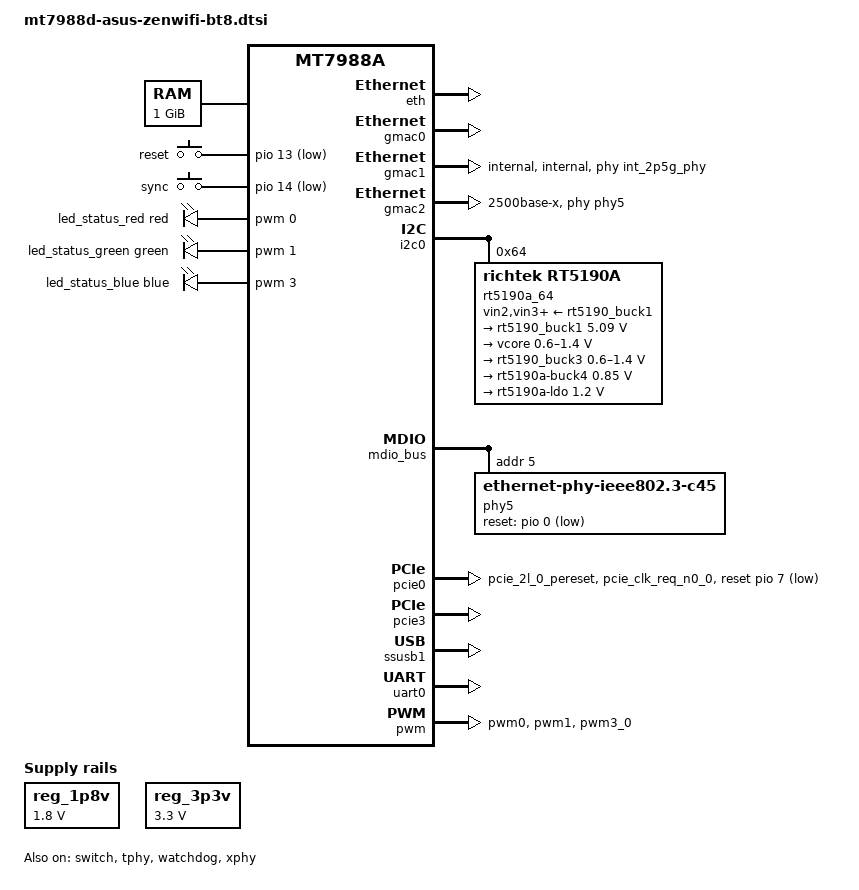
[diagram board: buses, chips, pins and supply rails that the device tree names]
// SPDX-License-Identifier: (GPL-2.0 OR MIT)

/dts-v1/;

#include "mt7988a.dtsi"
#include <dt-bindings/gpio/gpio.h>
#include <dt-bindings/input/input.h>
#include <dt-bindings/leds/common.h>
#include <dt-bindings/pinctrl/mt65xx.h>
#include <dt-bindings/regulator/richtek,rt5190a-regulator.h>

#define ASUS_BT8_NVMEM_LAYOUT				\
	nvmem-layout {					\
		compatible = "fixed-layout";		\
		#address-cells = <1>;			\
		#size-cells = <1>;			\
							\
		eeprom_factory_0: eeprom@0 {		\
			reg = <0x0 0x1e00>;		\
		};					\
							\
		macaddr_factory_4: macaddr@4 {		\
			reg = <0x4 0x6>;		\
		};					\
							\
		macaddr_factory_a: macaddr@a {		\
			reg = <0xa 0x6>;		\
		};					\
							\
		macaddr_factory_fffee: macaddr@fffee {	\
			reg = <0xfffee 0x6>;		\
		};					\
							\
		macaddr_factory_ffff4: macaddr@ffff4 {	\
			reg = <0xffff4 0x6>;		\
		};					\
							\
		macaddr_factory_ffffa: macaddr@ffffa {	\
			reg = <0xffffa 0x6>;		\
		};					\
							\
		pin@101180 {				\
			reg = <0x101180 0x8>;		\
		};					\
							\
		hwid@110e00 {				\
			reg = <0x110e00 0x1>;		\
		};					\
							\
		hwrev@110e04 {				\
			reg = <0x110e04 0x4>;		\
		};					\
							\
		board@110e0c {				\
			reg = <0x110e0c 0x20>;		\
		};					\
							\
		mfgdate@110e3e {			\
			reg = <0x110e3e 0x8>;		\
		};					\
							\
		market@110f90 {				\
			reg = <0x110f90 0x5>;		\
		};					\
							\
		model@110fb0 {				\
			reg = <0x110fb0 0x10>;		\
		};					\
							\
		serial@110ff0 {				\
			reg = <0x110ff0 0x10>;		\
		};					\
							\
		eeprom-version@15480f {			\
			reg = <0x15480f 0x1>;		\
		};					\
	}

/ {
	aliases {
		serial0 = &uart0;
		label-mac-device = &gmac0;
		led-boot = &led_status_green;
		led-failsafe = &led_status_red;
		led-running = &led_status_green;
		led-upgrade = &led_status_blue;
	};

	memory {
		reg = <0x0 0x40000000 0x0 0x40000000>;
	};

	cpus {
		/delete-node/ cpu@3;
	};

	reg_1p8v: regulator-1p8v {
		compatible = "regulator-fixed";
		regulator-name = "fixed-1.8V";
		regulator-min-microvolt = <1800000>;
		regulator-max-microvolt = <1800000>;
		regulator-boot-on;
		regulator-always-on;
	};

	reg_3p3v: regulator-3p3v {
		compatible = "regulator-fixed";
		regulator-name = "fixed-3.3V";
		regulator-min-microvolt = <3300000>;
		regulator-max-microvolt = <3300000>;
		regulator-boot-on;
		regulator-always-on;
	};

	gpio-keys {
		compatible = "gpio-keys";
		pinctrl-names = "default";
		pinctrl-0 = <&button_pins>;

		factory {
			label = "reset";
			linux,code = <KEY_RESTART>;
			gpios = <&pio 13 GPIO_ACTIVE_LOW>;
		};

		wps {
			label = "sync";
			linux,code = <KEY_WPS_BUTTON>;
			gpios = <&pio 14 GPIO_ACTIVE_LOW>;
		};
	};

	pwm-leds {
		compatible = "pwm-leds";

		led_status_red: led-0 {
			color = <LED_COLOR_ID_RED>;
			function = LED_FUNCTION_STATUS;
			pwms = <&pwm 0 10000>;
		};

		led_status_green: led-1 {
			color = <LED_COLOR_ID_GREEN>;
			function = LED_FUNCTION_STATUS;
			pwms = <&pwm 1 10000>;
		};

		led_status_blue: led-2 {
			color = <LED_COLOR_ID_BLUE>;
			function = LED_FUNCTION_STATUS;
			pwms = <&pwm 3 10000>;
		};
	};
};

&cpu0 {
	proc-supply = <&rt5190_buck3>;
};

&cpu1 {
	proc-supply = <&rt5190_buck3>;
};

&cpu2 {
	proc-supply = <&rt5190_buck3>;
};

&cci {
	proc-supply = <&rt5190_buck3>;
};

&eth {
	pinctrl-names = "default";
	pinctrl-0 = <&mdio0_pins>;
	status = "okay";
};

&gmac0 {
	status = "okay";
};

&gmac1 {
	phy-mode = "internal";
	phy-connection-type = "internal";
	phy = <&int_2p5g_phy>;

	openwrt,netdev-name = "wan";

	status = "okay";
};

&int_2p5g_phy {
	pinctrl-names = "i2p5gbe-led";
	pinctrl-0 = <&i2p5gbe_led0_pins>;
};

&gmac2 {
	phy-mode = "2500base-x";
	phy = <&phy5>;

	openwrt,netdev-name = "lan3";

	status = "okay";
};

&gsw_phy0 {
	status = "disabled";
};

&i2c0 {
	pinctrl-names = "default";
	pinctrl-0 = <&i2c0_pins>;
	status = "okay";

	rt5190a_64: rt5190a@64 {
		compatible = "richtek,rt5190a";
		reg = <0x64>;
		/*interrupts-extended = <&gpio26 0 IRQ_TYPE_LEVEL_LOW>;*/
		vin2-supply = <&rt5190_buck1>;
		vin3-supply = <&rt5190_buck1>;
		vin4-supply = <&rt5190_buck1>;

		regulators {
			rt5190_buck1: buck1 {
				regulator-name = "rt5190a-buck1";
				regulator-min-microvolt = <5090000>;
				regulator-max-microvolt = <5090000>;
				regulator-allowed-modes =
				<RT5190A_OPMODE_AUTO RT5190A_OPMODE_FPWM>;
				regulator-boot-on;
				regulator-always-on;
			};

			buck2 {
				regulator-name = "vcore";
				regulator-min-microvolt = <600000>;
				regulator-max-microvolt = <1400000>;
				regulator-boot-on;
				regulator-always-on;
			};

			rt5190_buck3: buck3 {
				regulator-name = "vproc";
				regulator-min-microvolt = <600000>;
				regulator-max-microvolt = <1400000>;
				regulator-boot-on;
			};

			buck4 {
				regulator-name = "rt5190a-buck4";
				regulator-min-microvolt = <850000>;
				regulator-max-microvolt = <850000>;
				regulator-allowed-modes =
				<RT5190A_OPMODE_AUTO RT5190A_OPMODE_FPWM>;
				regulator-boot-on;
				regulator-always-on;
			};

			ldo {
				regulator-name = "rt5190a-ldo";
				regulator-min-microvolt = <1200000>;
				regulator-max-microvolt = <1200000>;
				regulator-boot-on;
				regulator-always-on;
			};
		};
	};
};

&mdio_bus {
	phy5: ethernet-phy@5 {
		compatible = "ethernet-phy-ieee802.3-c45";
		reg = <5>;

		reset-gpios = <&pio 0 GPIO_ACTIVE_LOW>;
		reset-assert-us = <200000>;
		reset-deassert-us = <2000000>;
	};
};

&pcie0 {
	pinctrl-names = "default";
	pinctrl-0 = <&pcie0_1_pins>;
	reset-gpios = <&pio 7 GPIO_ACTIVE_LOW>;
	status = "okay";

	pcie@0,0 {
		reg = <0x0000 0 0 0 0>;

		mt7996_wifi: mt7996@0,0 {
			reg = <0x0000 0 0 0 0>;
		};
	};
};

&pcie3 {
	pinctrl-names = "default";
	pinctrl-0 = <&pcie3_pins>;
	status = "okay";
};

&pio {
	button_pins: button-pins {
		pins = "GPIO_RESET", "GPIO_WPS";
		mediatek,pull-down-adv = <0>; /* bias-disable */
	};

	pcie0_1_pins: pcie0-pins-g1 {
		mux {
			function = "pcie";
			groups = "pcie_2l_0_pereset", "pcie_clk_req_n0_0";
		};
	};

	pwm_pins: pwm-pins {
		mux {
			function = "pwm";
			groups = "pwm0", "pwm1", "pwm3_0";
		};
	};
};

&ssusb1 {
	status = "okay";
};

&switch {
	status = "okay";

	ports {
		port@0 {
			status = "disabled";
		};

		port@1 {
			label = "lan2";
		};

		port@2 {
			label = "lan1";
		};

		port@3 {
			status = "disabled";
		};
	};
};

&tphy {
	status = "okay";
};

&uart0 {
	status = "okay";
};

&watchdog {
	status = "okay";
};

&xphy {
	status = "okay";
};

&pwm {
	pinctrl-names = "default";
	pinctrl-0 = <&pwm_pins>;
	status = "okay";
};
